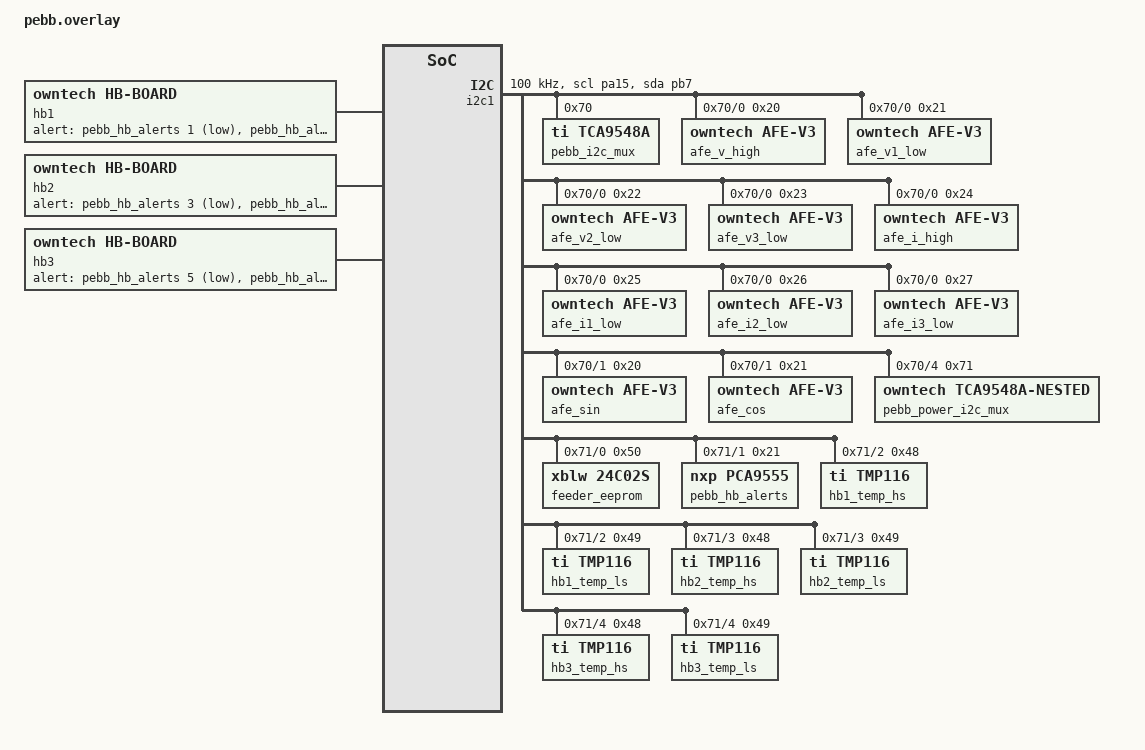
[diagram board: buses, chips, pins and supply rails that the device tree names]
/*
 * PEBB I2C tree derived from KiCAD_files/i2c_tree.kicad_sch.
 *
 * U726 is pulled low by R455 at startup. NC7SB3157 S=0 connects its B0
 * input (PA15) to SCL_MCU. SDA_MCU is directly connected to PB7.
 */

#include <zephyr/dt-bindings/i2c/i2c.h>
#include <zephyr/dt-bindings/gpio/gpio.h>

/ {
	low_voltage_feeder: low-voltage-feeder {
		compatible = "owntech,low-voltage-feeder";
		eeprom = <&feeder_eeprom>;
		persist-interval-minutes = <60>;
	};

	hb1: hb-board-1 {
		compatible = "owntech,hb-board";
		high-side-sensor = <&hb1_temp_hs>;
		low-side-sensor = <&hb1_temp_ls>;
		high-side-eeprom = <&hb1_eeprom_hs>;
		low-side-eeprom = <&hb1_eeprom_ls>;
		alert-gpios = <&pebb_hb_alerts 1 GPIO_ACTIVE_LOW>,
			      <&pebb_hb_alerts 0 GPIO_ACTIVE_LOW>;
	};

	hb2: hb-board-2 {
		compatible = "owntech,hb-board";
		high-side-sensor = <&hb2_temp_hs>;
		low-side-sensor = <&hb2_temp_ls>;
		high-side-eeprom = <&hb2_eeprom_hs>;
		low-side-eeprom = <&hb2_eeprom_ls>;
		alert-gpios = <&pebb_hb_alerts 3 GPIO_ACTIVE_LOW>,
			      <&pebb_hb_alerts 2 GPIO_ACTIVE_LOW>;
	};

	hb3: hb-board-3 {
		compatible = "owntech,hb-board";
		high-side-sensor = <&hb3_temp_hs>;
		low-side-sensor = <&hb3_temp_ls>;
		high-side-eeprom = <&hb3_eeprom_hs>;
		low-side-eeprom = <&hb3_eeprom_ls>;
		alert-gpios = <&pebb_hb_alerts 5 GPIO_ACTIVE_LOW>,
			      <&pebb_hb_alerts 4 GPIO_ACTIVE_LOW>;
	};
};

/* PB7 is reserved for I2C1 SDA on PEBB, not TIM4_CH2. */
&timers4 {
	status = "disabled";
};

&i2c1 {
	pinctrl-0 = <&i2c1_scl_pa15 &i2c1_sda_pb7>;
	pinctrl-names = "default";
	clock-frequency = <I2C_BITRATE_STANDARD>;
	status = "okay";

	/* U805: A2=A1=A0=0, address 0x70. */
	pebb_i2c_mux: tca9548a@70 {
		compatible = "ti,tca9548a";
		reg = <0x70>;
		#address-cells = <1>;
		#size-cells = <0>;
		status = "okay";

		/* U805 channel 0: AFE1..AFE8. */
		pebb_afe_bus_0: i2c@0 {
			compatible = "ti,tca9548a-channel";
			reg = <0>;
			#address-cells = <1>;
			#size-cells = <0>;

			afe_v_high: afe@20 {
				compatible = "owntech,afe-v3";
				reg = <0x20>;
				dac-address = <0x60>;
			};

			afe_v1_low: afe@21 {
				compatible = "owntech,afe-v3";
				reg = <0x21>;
				dac-address = <0x61>;
			};

			afe_v2_low: afe@22 {
				compatible = "owntech,afe-v3";
				reg = <0x22>;
				dac-address = <0x62>;
			};

			afe_v3_low: afe@23 {
				compatible = "owntech,afe-v3";
				reg = <0x23>;
				dac-address = <0x63>;
			};

			afe_i_high: afe@24 {
				compatible = "owntech,afe-v3";
				reg = <0x24>;
				dac-address = <0x64>;
			};

			afe_i1_low: afe@25 {
				compatible = "owntech,afe-v3";
				reg = <0x25>;
				dac-address = <0x65>;
			};

			afe_i2_low: afe@26 {
				compatible = "owntech,afe-v3";
				reg = <0x26>;
				dac-address = <0x66>;
			};

			afe_i3_low: afe@27 {
				compatible = "owntech,afe-v3";
				reg = <0x27>;
				dac-address = <0x67>;
			};
		};

		/* U805 channel 1: AFE9, AFE10 and the unrelated U839 at 0x27. */
		pebb_afe_bus_1: i2c@1 {
			compatible = "ti,tca9548a-channel";
			reg = <1>;
			#address-cells = <1>;
			#size-cells = <0>;

			afe_sin: afe@20 {
				compatible = "owntech,afe-v3";
				reg = <0x20>;
				dac-address = <0x60>;
			};

			afe_cos: afe@21 {
				compatible = "owntech,afe-v3";
				reg = <0x21>;
				dac-address = <0x61>;
			};
		};

		/* U805 channel 4 crosses U804 into the PGND I2C domain. */
		pebb_power_i2c_bus: i2c@4 {
			compatible = "ti,tca9548a-channel";
			reg = <4>;
			#address-cells = <1>;
			#size-cells = <0>;

			/* U814: A2=A1=0, A0=1, address 0x71. */
			pebb_power_i2c_mux: tca9548a@71 {
				compatible = "owntech,tca9548a-nested";
				reg = <0x71>;
				#address-cells = <1>;
				#size-cells = <0>;

				/* U814 channel 0: external low-voltage feeder. */
				feeder_i2c_bus: i2c@0 {
					compatible = "owntech,tca9548a-nested-channel";
					reg = <0>;
					#address-cells = <1>;
					#size-cells = <0>;

					/* Feeder U101: XBLW 24C02S, A2..A0=0. */
					feeder_eeprom: eeprom@50 {
						compatible = "xblw,24c02s", "atmel,at24";
						reg = <0x50>;
						size = <256>;
						pagesize = <16>;
						address-width = <8>;
						timeout = <5>;
					};
				};

				/* U814 channel 1: PEBB I/O expanders. */
				pebb_power_io_bus: i2c@1 {
					compatible = "owntech,tca9548a-nested-channel";
					reg = <1>;
					#address-cells = <1>;
					#size-cells = <0>;

					/* U838: A2=A1=0, A0=1. Pins 0..5 are HB alerts. */
					pebb_hb_alerts: gpio@21 {
						compatible = "nxp,pca9555";
						reg = <0x21>;
						gpio-controller;
						#gpio-cells = <2>;
						ngpios = <16>;
					};
				};

				/* U814 channel 2: HB1, HS=0x48 and LS=0x49. */
				hb1_i2c_bus: i2c@2 {
					compatible = "owntech,tca9548a-nested-channel";
					reg = <2>;
					#address-cells = <1>;
					#size-cells = <0>;

					hb1_temp_hs: temperature-sensor@48 {
						compatible = "ti,tmp116";
						reg = <0x48>;

						hb1_eeprom_hs: eeprom {
							compatible = "ti,tmp116-eeprom";
						};
					};

					hb1_temp_ls: temperature-sensor@49 {
						compatible = "ti,tmp116";
						reg = <0x49>;

						hb1_eeprom_ls: eeprom {
							compatible = "ti,tmp116-eeprom";
						};
					};
				};

				/* U814 channel 3: HB2, HS=0x48 and LS=0x49. */
				hb2_i2c_bus: i2c@3 {
					compatible = "owntech,tca9548a-nested-channel";
					reg = <3>;
					#address-cells = <1>;
					#size-cells = <0>;

					hb2_temp_hs: temperature-sensor@48 {
						compatible = "ti,tmp116";
						reg = <0x48>;

						hb2_eeprom_hs: eeprom {
							compatible = "ti,tmp116-eeprom";
						};
					};

					hb2_temp_ls: temperature-sensor@49 {
						compatible = "ti,tmp116";
						reg = <0x49>;

						hb2_eeprom_ls: eeprom {
							compatible = "ti,tmp116-eeprom";
						};
					};
				};

				/* U814 channel 4: HB3, HS=0x48 and LS=0x49. */
				hb3_i2c_bus: i2c@4 {
					compatible = "owntech,tca9548a-nested-channel";
					reg = <4>;
					#address-cells = <1>;
					#size-cells = <0>;

					hb3_temp_hs: temperature-sensor@48 {
						compatible = "ti,tmp116";
						reg = <0x48>;

						hb3_eeprom_hs: eeprom {
							compatible = "ti,tmp116-eeprom";
						};
					};

					hb3_temp_ls: temperature-sensor@49 {
						compatible = "ti,tmp116";
						reg = <0x49>;

						hb3_eeprom_ls: eeprom {
							compatible = "ti,tmp116-eeprom";
						};
					};
				};
			};
		};
	};
};
